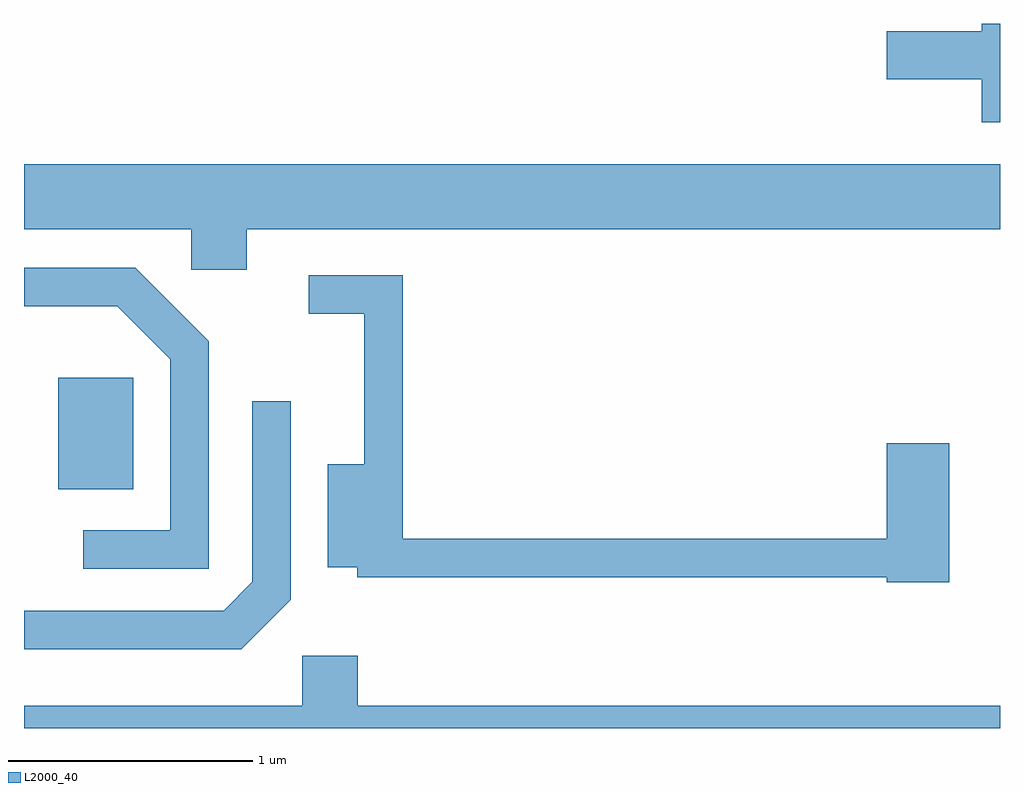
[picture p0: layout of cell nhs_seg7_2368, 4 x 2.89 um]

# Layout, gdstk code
import gdstk
lib = gdstk.Library(unit=1e-6, precision=1e-09)
def R(c, l, rs):  # rectangles x0, y0, x1, y1
    for r in rs: c.add(gdstk.rectangle(r[:2], r[2:], *l))
def P(c, l, *ps):  # polygons
    for p in ps: c.add(gdstk.Polygon(p, *l))
L2000_40 = (2000, 40)

nhs_seg7_2368 = lib.new_cell('nhs_seg7_2368')
R(nhs_seg7_2368, L2000_40, [(257.751,1733.231,258.059,1733.689)])
P(nhs_seg7_2368, L2000_40, [(261.611,1735.139),(261.536,1735.139),(261.536,1735.109),(261.146,1735.109),(261.146,1734.911),(261.536,1734.911),(261.536,1734.736),(261.611,1734.736)],
  [(258.524,1734.296),(261.611,1734.296),(261.611,1734.564),(257.611,1734.564),(257.611,1734.296),(258.296,1734.296),(258.296,1734.131),(258.524,1734.131)],
  [(258.369,1733.837),(258.067,1734.139),(257.611,1734.139),(257.611,1733.981),(257.993,1733.981),(258.211,1733.764),(258.211,1733.064),(257.853,1733.064),(257.853,1732.906),(258.369,1732.906)],
  [(261.404,1733.419),(261.146,1733.419),(261.146,1733.029),(259.164,1733.029),(259.164,1734.109),(258.778,1734.109),(258.778,1733.951),(259.006,1733.951),(259.006,1733.334),(258.856,1733.334),(258.856,1732.911),(258.976,1732.911),(258.976,1732.871),(261.146,1732.871),(261.146,1732.851),(261.404,1732.851)],
  [(258.704,1732.779),(258.704,1733.593),(258.546,1733.593),(258.546,1732.852),(258.429,1732.734),(257.611,1732.734),(257.611,1732.576),(258.502,1732.576)],
  [(261.611,1732.344),(258.979,1732.344),(258.979,1732.549),(258.751,1732.549),(258.751,1732.344),(257.611,1732.344),(257.611,1732.252),(261.611,1732.252)])

lib.write_gds('nhs_seg7_2368.gds')
